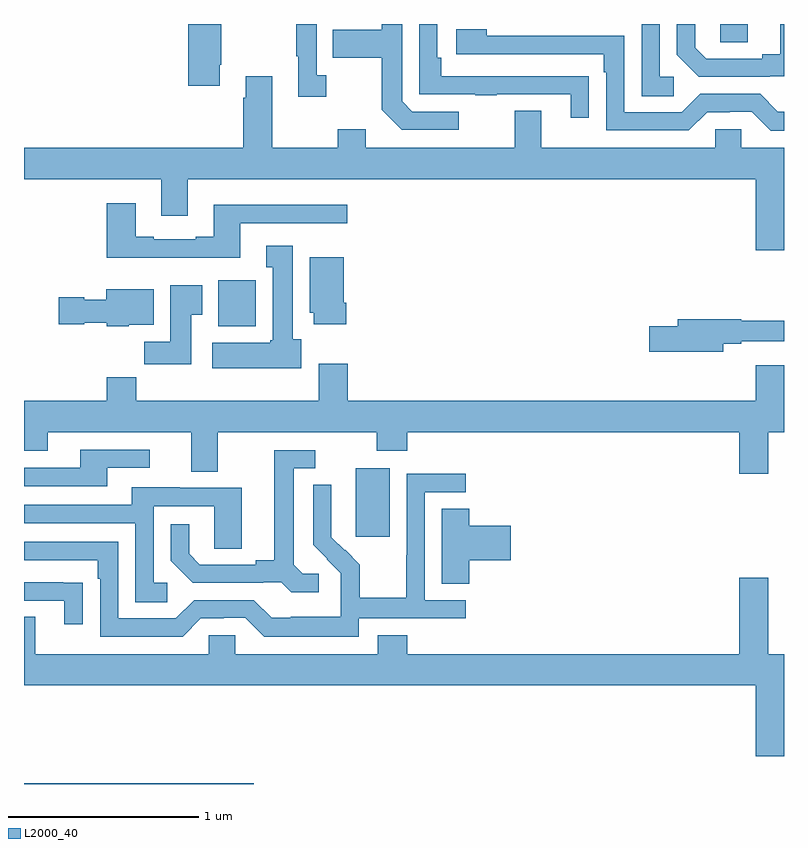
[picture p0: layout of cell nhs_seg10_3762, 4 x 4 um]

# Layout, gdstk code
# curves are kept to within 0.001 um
import gdstk
lib = gdstk.Library(unit=1e-6, precision=1e-09)
def R(c, l, rs):  # rectangles x0, y0, x1, y1
    for r in rs: c.add(gdstk.rectangle(r[:2], r[2:], *l))
def P(c, l, *ps):  # polygons
    for p in ps: c.add(gdstk.Polygon(p, *l))
L2000_40 = (2000, 40)

nhs_seg10_3762 = lib.new_cell('nhs_seg10_3762')
R(nhs_seg10_3762, L2000_40, [(317,1262.5,318.208,1262.504), (318.746,1263.801,318.925,1264.162), (318.023,1264.91,318.22,1265.152), (320.664,1266.403,320.809,1266.5)])
P(nhs_seg10_3762, L2000_40, [(319.288,1266.039),(319.044,1266.039),(318.99,1266.093),(318.99,1266.5),(318.882,1266.5),(318.882,1266.469),(318.625,1266.469),(318.625,1266.322),(318.882,1266.322),(318.882,1266.049),(318.987,1265.943),(319.288,1265.943)],
  [(318.592,1266.23),(318.54,1266.23),(318.54,1266.5),(318.432,1266.5),(318.432,1266.329),(318.443,1266.329),(318.443,1266.117),(318.592,1266.117)],
  [(319.973,1266.224),(319.871,1266.224),(319.871,1266.225),(319.196,1266.225),(319.196,1266.322),(319.176,1266.322),(319.176,1266.5),(319.08,1266.5),(319.08,1266.129),(319.375,1266.129),(319.375,1266.124),(319.487,1266.124),(319.487,1266.129),(319.877,1266.129),(319.877,1266.006),(319.973,1266.006)],
  [(318.031,1266.286),(318.039,1266.286),(318.039,1266.5),(317.864,1266.5),(317.864,1266.174),(318.031,1266.174)],
  [(320.419,1266.222),(320.346,1266.222),(320.346,1266.5),(320.25,1266.5),(320.25,1266.121),(320.419,1266.121)],
  [(320.924,1266.225),(321,1266.225),(321,1266.5),(320.981,1266.5),(320.981,1266.341),(320.885,1266.341),(320.885,1266.318),(320.59,1266.318),(320.533,1266.375),(320.533,1266.5),(320.436,1266.5),(320.436,1266.338),(320.552,1266.222),(320.924,1266.222)],
  [(321,1266.039),(320.967,1266.039),(320.874,1266.132),(320.559,1266.132),(320.463,1266.036),(320.16,1266.036),(320.16,1266.438),(319.436,1266.438),(319.436,1266.472),(319.275,1266.472),(319.275,1266.342),(320.051,1266.342),(320.051,1266.245),(320.064,1266.245),(320.064,1265.94),(320.499,1265.94),(320.595,1266.036),(320.714,1266.036),(320.714,1266.039),(320.829,1266.039),(320.929,1265.939),(321,1265.939)],
  [(321,1265.848),(320.775,1265.848),(320.775,1265.946),(320.637,1265.946),(320.637,1265.848),(319.723,1265.848),(319.723,1266.043),(319.583,1266.043),(319.583,1265.848),(318.799,1265.848),(318.799,1265.947),(318.652,1265.947),(318.652,1265.848),(318.307,1265.848),(318.307,1266.226),(318.167,1266.226),(318.167,1266.113),(318.155,1266.113),(318.155,1265.848),(317,1265.848),(317,1265.684),(317.723,1265.684),(317.723,1265.49),(317.863,1265.49),(317.863,1265.684),(320.852,1265.684),(320.852,1265.31),(321,1265.31)],
  [(318.139,1265.451),(318.7,1265.451),(318.7,1265.548),(317.999,1265.548),(317.999,1265.38),(317.903,1265.38),(317.903,1265.367),(317.683,1265.367),(317.683,1265.38),(317.587,1265.38),(317.587,1265.557),(317.435,1265.557),(317.435,1265.27),(318.139,1265.27)],
  [(318.46,1264.842),(318.415,1264.842),(318.415,1265.332),(318.275,1265.332),(318.275,1265.219),(318.308,1265.219),(318.308,1264.836),(318.295,1264.836),(318.295,1264.822),(317.991,1264.822),(317.991,1264.688),(318.46,1264.688)],
  [(318.695,1265.032),(318.682,1265.032),(318.682,1265.272),(318.503,1265.272),(318.503,1264.98),(318.524,1264.98),(318.524,1264.92),(318.695,1264.92)],
  [(317.881,1264.969),(317.938,1264.969),(317.938,1265.125),(317.771,1265.125),(317.771,1264.828),(317.632,1264.828),(317.632,1264.71),(317.881,1264.71)],
  [(317.55,1264.916),(317.683,1264.916),(317.683,1265.104),(317.432,1265.104),(317.432,1265.05),(317.316,1265.05),(317.316,1265.063),(317.184,1265.063),(317.184,1264.921),(317.316,1264.921),(317.316,1264.928),(317.436,1264.928),(317.436,1264.91),(317.55,1264.91)],
  [(320.68,1264.818),(320.776,1264.818),(320.776,1264.83),(321,1264.83),(321,1264.939),(320.776,1264.939),(320.776,1264.946),(320.441,1264.946),(320.441,1264.91),(320.292,1264.91),(320.292,1264.775),(320.68,1264.775)],
  [(320.917,1264.352),(321,1264.352),(321,1264.705),(320.852,1264.705),(320.852,1264.516),(318.704,1264.516),(318.704,1264.711),(318.551,1264.711),(318.551,1264.516),(317.591,1264.516),(317.591,1264.64),(317.435,1264.64),(317.435,1264.516),(317,1264.516),(317,1264.253),(317.125,1264.253),(317.125,1264.352),(317.879,1264.352),(317.879,1264.144),(318.019,1264.144),(318.019,1264.352),(318.856,1264.352),(318.856,1264.253),(319.016,1264.253),(319.016,1264.352),(320.765,1264.352),(320.765,1264.134),(320.917,1264.134)],
  [(317.437,1264.164),(317.662,1264.164),(317.662,1264.26),(317.297,1264.26),(317.297,1264.164),(317,1264.164),(317,1264.068),(317.437,1264.068)],
  [(318.55,1263.606),(318.468,1263.606),(318.421,1263.653),(318.421,1264.161),(318.532,1264.161),(318.532,1264.257),(318.317,1264.257),(318.317,1263.677),(318.221,1263.677),(318.221,1263.654),(317.926,1263.654),(317.869,1263.711),(317.869,1263.868),(317.772,1263.868),(317.772,1263.674),(317.888,1263.558),(318.26,1263.558),(318.26,1263.561),(318.354,1263.561),(318.406,1263.509),(318.55,1263.509)],
  [(318.762,1263.372),(319.324,1263.372),(319.324,1263.468),(319.11,1263.468),(319.11,1264.035),(319.324,1264.035),(319.324,1264.134),(319.014,1264.134),(319.014,1263.704),(319.012,1263.704),(319.012,1263.481),(318.767,1263.481),(318.767,1263.655),(318.69,1263.732),(318.687,1263.729),(318.617,1263.8),(318.618,1264.076),(318.522,1264.076),(318.522,1263.758),(318.668,1263.61),(318.668,1263.513),(318.666,1263.513),(318.666,1263.379),(318.403,1263.379),(318.403,1263.375),(318.303,1263.375),(318.21,1263.468),(317.895,1263.468),(317.799,1263.372),(317.496,1263.372),(317.496,1263.774),(317,1263.774),(317,1263.678),(317.387,1263.678),(317.387,1263.581),(317.4,1263.581),(317.4,1263.276),(317.835,1263.276),(317.931,1263.372),(318.05,1263.372),(318.05,1263.375),(318.165,1263.375),(318.265,1263.275),(318.762,1263.275)],
  [(317.755,1263.558),(317.682,1263.558),(317.682,1263.963),(318,1263.963),(318,1263.739),(318.145,1263.739),(318.145,1264.059),(317.821,1264.059),(317.821,1264.063),(317.567,1264.063),(317.567,1263.969),(317,1263.969),(317,1263.873),(317.586,1263.873),(317.586,1263.457),(317.755,1263.457)],
  [(319.343,1263.677),(319.561,1263.677),(319.561,1263.86),(319.343,1263.86),(319.343,1263.95),(319.199,1263.95),(319.199,1263.553),(319.343,1263.553)],
  [(321,1263.184),(320.917,1263.184),(320.917,1263.586),(320.765,1263.586),(320.765,1263.184),(319.016,1263.184),(319.016,1263.283),(318.863,1263.283),(318.863,1263.184),(318.111,1263.184),(318.111,1263.282),(317.973,1263.282),(317.973,1263.184),(317.059,1263.184),(317.059,1263.379),(317,1263.379),(317,1263.02),(320.852,1263.02),(320.852,1262.646),(321,1262.646)],
  [(317.309,1263.56),(317.207,1263.56),(317.207,1263.561),(317,1263.561),(317,1263.465),(317.213,1263.465),(317.213,1263.342),(317.309,1263.342)])

lib.write_gds('nhs_seg10_3762.gds')
